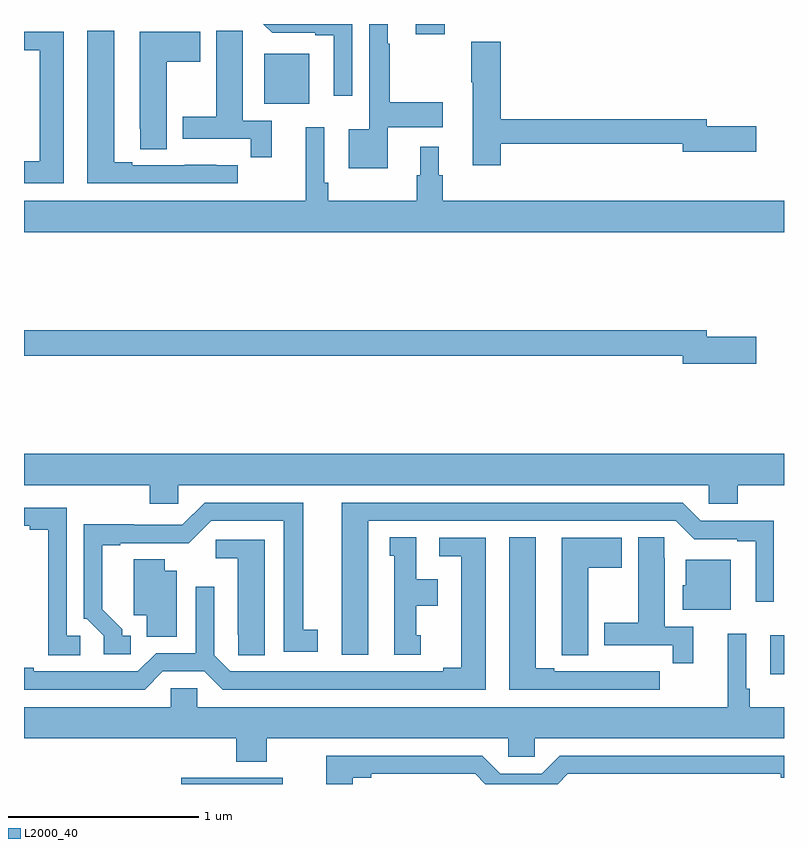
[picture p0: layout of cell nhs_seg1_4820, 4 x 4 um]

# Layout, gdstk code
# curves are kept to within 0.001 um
import gdstk
lib = gdstk.Library(unit=1e-6, precision=1e-09)
def R(c, l, rs):  # rectangles x0, y0, x1, y1
    for r in rs: c.add(gdstk.rectangle(r[:2], r[2:], *l))
def P(c, l, *ps):  # polygons
    for p in ps: c.add(gdstk.Polygon(p, *l))
L2000_40 = (2000, 40)

nhs_seg1_4820 = lib.new_cell('nhs_seg1_4820')
R(nhs_seg1_4820, L2000_40, [(373.827,510.199,374.361,510.231), (376.928,510.776,377,510.982), (374.264,513.779,374.5,514.042), (375.062,514.145,375.215,514.199)])
P(nhs_seg1_4820, L2000_40, [(374.727,514.199),(374.26,514.199),(374.307,514.152),(374.534,514.152),(374.534,514.14),(374.63,514.14),(374.63,513.822),(374.727,513.822)],
  [(374.914,513.656),(375.205,513.656),(375.205,513.786),(374.926,513.786),(374.926,514.094),(374.914,514.094),(374.914,514.199),(374.817,514.199),(374.817,513.646),(374.708,513.646),(374.708,513.44),(374.914,513.44)],
  [(374.125,513.456),(374.012,513.456),(374.012,513.457),(373.846,513.457),(373.846,513.456),(373.57,513.456),(373.57,513.471),(373.474,513.471),(373.474,514.163),(373.334,514.163),(373.334,513.36),(374.125,513.36)],
  [(374.303,513.69),(374.152,513.69),(374.152,514.052),(374.151,514.052),(374.151,514.163),(374.012,514.163),(374.012,513.711),(373.835,513.711),(373.835,513.594),(374.194,513.594),(374.194,513.498),(374.303,513.498)],
  [(373.75,514),(373.927,514),(373.927,514.159),(373.61,514.159),(373.61,513.649),(373.611,513.649),(373.611,513.541),(373.75,513.541)],
  [(373.21,514.158),(373,514.158),(373,514.062),(373.082,514.062),(373.082,513.476),(373,513.476),(373,513.36),(373.21,513.36)],
  [(375.509,513.57),(376.466,513.57),(376.466,513.527),(376.855,513.527),(376.855,513.662),(376.594,513.662),(376.594,513.698),(375.509,513.698),(375.509,514.105),(375.355,514.105),(375.355,513.892),(375.362,513.892),(375.362,513.456),(375.509,513.456)],
  [(377,513.268),(375.203,513.268),(375.203,513.402),(375.184,513.402),(375.184,513.553),(375.086,513.553),(375.086,513.402),(375.067,513.402),(375.067,513.268),(374.6,513.268),(374.6,513.364),(374.58,513.364),(374.58,513.655),(374.483,513.655),(374.483,513.268),(373,513.268),(373,513.104),(377,513.104)],
  [(376.855,512.552),(376.594,512.552),(376.594,512.588),(373,512.588),(373,512.452),(376.466,512.452),(376.466,512.41),(376.855,512.41)],
  [(373.812,511.772),(376.605,511.772),(376.605,511.674),(376.757,511.674),(376.757,511.772),(377,511.772),(377,511.936),(373,511.936),(373,511.772),(373.661,511.772),(373.661,511.674),(373.812,511.674)],
  [(373.561,510.978),(373.516,510.978),(373.516,511.013),(373.411,511.118),(373.411,511.455),(373.507,511.455),(373.507,511.467),(373.868,511.466),(373.986,511.584),(374.366,511.584),(374.366,510.894),(374.545,510.894),(374.545,511.01),(374.47,511.01),(374.47,511.68),(373.95,511.68),(373.833,511.563),(373.577,511.563),(373.577,511.565),(373.314,511.565),(373.314,511.068),(373.329,511.068),(373.419,510.978),(373.419,510.882),(373.561,510.882)],
  [(374.812,511.584),(376.431,511.584),(376.527,511.488),(376.754,511.488),(376.754,511.476),(376.85,511.476),(376.85,511.158),(376.947,511.158),(376.947,511.584),(376.563,511.584),(376.467,511.68),(374.672,511.68),(374.672,510.879),(374.812,510.879)],
  [(373.297,510.978),(373.224,510.978),(373.224,511.653),(373,511.653),(373,511.557),(373.031,511.557),(373.031,511.537),(373.127,511.537),(373.127,510.877),(373.297,510.877)],
  [(376.523,511.026),(376.372,511.026),(376.372,511.388),(376.371,511.388),(376.371,511.499),(376.232,511.499),(376.232,511.047),(376.055,511.047),(376.055,510.93),(376.414,510.93),(376.414,510.834),(376.523,510.834)],
  [(376.345,510.792),(376.232,510.792),(376.232,510.793),(376.066,510.793),(376.066,510.792),(375.79,510.792),(375.79,510.807),(375.694,510.807),(375.694,511.499),(375.554,511.499),(375.554,510.696),(376.345,510.696)],
  [(375.088,510.981),(375.064,510.981),(375.064,511.136),(375.178,511.136),(375.178,511.276),(375.064,511.276),(375.064,511.499),(374.924,511.499),(374.924,511.401),(374.948,511.401),(374.948,510.879),(375.088,510.879)],
  [(375.97,511.336),(376.147,511.336),(376.147,511.495),(375.83,511.495),(375.83,510.985),(375.831,510.985),(375.831,510.877),(375.97,510.877)],
  [(373.731,510.792),(373.949,510.792),(374.045,510.696),(375.43,510.696),(375.43,511.494),(375.186,511.494),(375.186,511.398),(375.302,511.398),(375.302,510.812),(375.206,510.812),(375.206,510.792),(374.085,510.792),(374.001,510.876),(374.001,511.237),(373.905,511.237),(373.905,510.888),(373.695,510.888),(373.599,510.792),(373.051,510.792),(373.051,510.812),(373,510.812),(373,510.696),(373.635,510.696)],
  [(374.266,511.485),(374.01,511.485),(374.01,511.388),(374.126,511.388),(374.126,510.985),(374.127,510.985),(374.127,510.877),(374.266,510.877)],
  [(373.804,511.321),(373.741,511.321),(373.741,511.382),(373.577,511.382),(373.577,511.088),(373.646,511.088),(373.646,510.973),(373.804,510.973)],
  [(376.72,511.378),(376.484,511.378),(376.484,511.245),(376.466,511.245),(376.466,511.115),(376.72,511.115)],
  [(374.277,510.44),(375.549,510.44),(375.549,510.342),(375.687,510.342),(375.687,510.44),(377,510.44),(377,510.604),(376.82,510.604),(376.82,510.7),(376.8,510.7),(376.8,510.991),(376.703,510.991),(376.703,510.604),(373.911,510.604),(373.911,510.702),(373.773,510.702),(373.773,510.604),(373,510.604),(373,510.44),(374.117,510.44),(374.117,510.316),(374.277,510.316)],
  [(374.731,510.232),(374.827,510.232),(374.827,510.252),(375.375,510.252),(375.428,510.199),(375.808,510.199),(375.861,510.252),(376.982,510.252),(376.982,510.232),(377,510.232),(377,510.348),(375.821,510.348),(375.725,510.252),(375.507,510.252),(375.411,510.348),(374.591,510.348),(374.591,510.199),(374.731,510.199)])

lib.write_gds('nhs_seg1_4820.gds')
